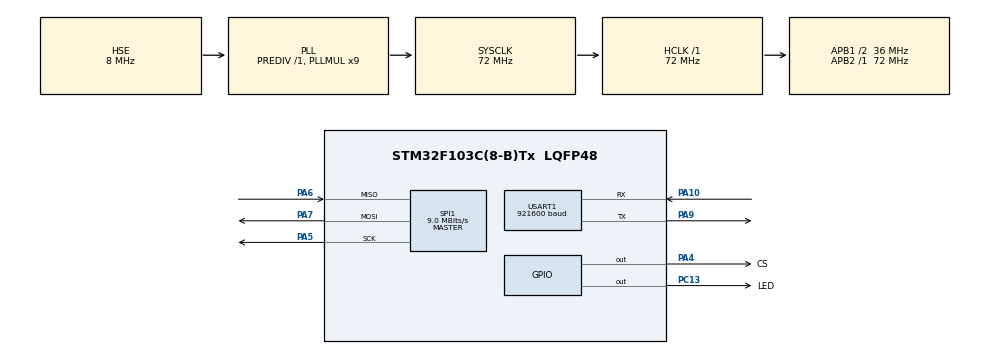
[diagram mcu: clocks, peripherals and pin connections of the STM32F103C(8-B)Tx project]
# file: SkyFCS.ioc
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Mcu.Family=STM32F1
Mcu.Name=STM32F103C(8-B)Tx
Mcu.Package=LQFP48
NVIC.PriorityGroup=NVIC_PRIORITYGROUP_4
NVIC.TIM4_IRQn=true\:0\:0\:false\:false\:true\:true\:true
PA10.Mode=Asynchronous
PA10.Signal=USART1_RX
PA13.Mode=Trace_Asynchronous_SW
PA13.Signal=SYS_JTMS-SWDIO
PA14.Mode=Trace_Asynchronous_SW
PA14.Signal=SYS_JTCK-SWCLK
PA4.GPIO_Label=CS
PA4.Signal=GPIO_Output
PA5.Mode=Full_Duplex_Master
PA5.Signal=SPI1_SCK
PA6.Mode=Full_Duplex_Master
PA6.Signal=SPI1_MISO
PA7.Mode=Full_Duplex_Master
PA7.Signal=SPI1_MOSI
PA9.Mode=Asynchronous
PA9.Signal=USART1_TX
PB3.Mode=Trace_Asynchronous_SW
PB3.Signal=SYS_JTDO-TRACESWO
PC13-TAMPER-RTC.GPIO_Label=LED
PC13-TAMPER-RTC.Signal=GPIO_Output
PC14-OSC32_IN.Mode=LSE-External-Oscillator
PC14-OSC32_IN.Signal=RCC_OSC32_IN
PC15-OSC32_OUT.Mode=LSE-External-Oscillator
PC15-OSC32_OUT.Signal=RCC_OSC32_OUT
PD0-OSC_IN.Mode=HSE-External-Oscillator
PD0-OSC_IN.Signal=RCC_OSC_IN
PD1-OSC_OUT.Mode=HSE-External-Oscillator
PD1-OSC_OUT.Signal=RCC_OSC_OUT
ProjectManager.HeapSize=0x200
ProjectManager.StackSize=0x400
ProjectManager.TargetToolchain=STM32CubeIDE
RCC.AHBFreq_Value=72000000
RCC.APB1CLKDivider=RCC_HCLK_DIV2
RCC.APB1Freq_Value=36000000
RCC.APB1TimFreq_Value=72000000
RCC.APB2Freq_Value=72000000
RCC.APB2TimFreq_Value=72000000
RCC.HCLKFreq_Value=72000000
RCC.PLLMUL=RCC_PLL_MUL9
RCC.PLLSourceVirtual=RCC_PLLSOURCE_HSE
RCC.SYSCLKFreq_VALUE=72000000
RCC.SYSCLKSource=RCC_SYSCLKSOURCE_PLLCLK
RCC.USBFreq_Value=72000000
SPI1.BaudRatePrescaler=SPI_BAUDRATEPRESCALER_8
SPI1.CalculateBaudRate=9.0 MBits/s
SPI1.Direction=SPI_DIRECTION_2LINES
SPI1.Mode=SPI_MODE_MASTER
SPI1.VirtualType=VM_MASTER
TIM4.AutoReloadPreload=TIM_AUTORELOAD_PRELOAD_ENABLE
TIM4.Prescaler=71
USART1.BaudRate=921600
USART1.VirtualMode=VM_ASYNC
VP_TIM4_VS_ClockSourceINT.Mode=Internal
board=custom

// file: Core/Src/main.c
/* USER CODE BEGIN Header */
/**
  ******************************************************************************
  * @file           : main.c
  * @brief          : Main program body
  ******************************************************************************
  * @attention
  *
  * <h2><center>&copy; Copyright (c) 2025 STMicroelectronics.
  * All rights reserved.</center></h2>
  *
  * This software component is licensed by ST under BSD 3-Clause license,
  * the "License"; You may not use this file except in compliance with the
  * License. You may obtain a copy of the License at:
  *                        opensource.org/licenses/BSD-3-Clause
  *
  ******************************************************************************
  */
/* USER CODE END Header */
#include "main.h"
#include "spi.h"
#include "tim.h"
#include "usart.h"
#include "gpio.h"

/* USER CODE BEGIN Includes */
#include "ICM42688P.h"
#include "stdio.h"
/* USER CODE END Includes */

/* USER CODE BEGIN PTD */
volatile uint32_t timer_overflow_count = 0;  // 溢出次数�??32位扩展）

uint64_t Get_Global_Time_us(void) {
    uint32_t overflow, counter;
    do {
        overflow = timer_overflow_count;
        counter = __HAL_TIM_GET_COUNTER(&htim4);
    } while (overflow != timer_overflow_count); // 无锁校验
    return (uint64_t)overflow * 65536 + counter; // 组合�??64位时间戳
}

#ifdef __GNUC__

#define PUTCHAR_PROTOTYPE int __io_putchar(int ch)

PUTCHAR_PROTOTYPE
{
    HAL_UART_Transmit(&huart1, (uint8_t*)&ch, 1, HAL_MAX_DELAY);
    return ch;
}
#endif
/* USER CODE END PTD */

/* USER CODE BEGIN PD */
void LedFlash(void)
{
    // static uint64_t timeStampForLED;
    // uint64_t crrTime = Get_Global_Time_us();
    // if(crrTime > timeStampForLED+1000000)
    // {
        HAL_GPIO_TogglePin(LED_GPIO_Port,LED_Pin);
    //     timeStampForLED = crrTime;
    // }
}
/* USER CODE END PD */

void SystemClock_Config(void);

int main(void)
{

  /* MCU Configuration--------------------------------------------------------*/

  /* Reset of all peripherals, Initializes the Flash interface and the Systick. */
  HAL_Init();

  /* Configure the system clock */
  SystemClock_Config();

  /* Initialize all configured peripherals */
  MX_GPIO_Init();
  MX_SPI1_Init();
  MX_USART1_UART_Init();
  MX_TIM4_Init();
  /* USER CODE BEGIN 2 */
  HAL_TIM_Base_Start_IT(&htim4);
  ICM42688_Init();
  /* USER CODE END 2 */

  /* Infinite loop */
  /* USER CODE BEGIN WHILE */
  while (1)
  {
      LedFlash();

      int16_t accel[3],gyro[3];
      ReadSensorData(accel,gyro);
      float t = ICM42688_ReadTemperature();
      float accel_g[3],gyro_dps[3];
      ConvertRawData(accel,gyro,accel_g,gyro_dps);
      printf("T=%f,AX=%f,AY=%f,AZ=%f,GX=%f,GY=%f,GZ=%f\r\n",t,accel_g[0],accel_g[1],accel_g[2],gyro_dps[0],gyro_dps[1],gyro_dps[2]);

    /* USER CODE END WHILE */

  }
}

void SystemClock_Config(void)
{
  RCC_OscInitTypeDef RCC_OscInitStruct = {0};
  RCC_ClkInitTypeDef RCC_ClkInitStruct = {0};

  /** Initializes the RCC Oscillators according to the specified parameters
  * in the RCC_OscInitTypeDef structure.
  */
  RCC_OscInitStruct.OscillatorType = RCC_OSCILLATORTYPE_HSE;
  RCC_OscInitStruct.HSEState = RCC_HSE_ON;
  RCC_OscInitStruct.HSEPredivValue = RCC_HSE_PREDIV_DIV1;
  RCC_OscInitStruct.HSIState = RCC_HSI_ON;
  RCC_OscInitStruct.PLL.PLLState = RCC_PLL_ON;
  RCC_OscInitStruct.PLL.PLLSource = RCC_PLLSOURCE_HSE;
  RCC_OscInitStruct.PLL.PLLMUL = RCC_PLL_MUL9;
  if (HAL_RCC_OscConfig(&RCC_OscInitStruct) != HAL_OK)
  {
    Error_Handler();
  }
  /** Initializes the CPU, AHB and APB buses clocks
  */
  RCC_ClkInitStruct.ClockType = RCC_CLOCKTYPE_HCLK|RCC_CLOCKTYPE_SYSCLK
                              |RCC_CLOCKTYPE_PCLK1|RCC_CLOCKTYPE_PCLK2;
  RCC_ClkInitStruct.SYSCLKSource = RCC_SYSCLKSOURCE_PLLCLK;
  RCC_ClkInitStruct.AHBCLKDivider = RCC_SYSCLK_DIV1;
  RCC_ClkInitStruct.APB1CLKDivider = RCC_HCLK_DIV2;
  RCC_ClkInitStruct.APB2CLKDivider = RCC_HCLK_DIV1;

  if (HAL_RCC_ClockConfig(&RCC_ClkInitStruct, FLASH_LATENCY_2) != HAL_OK)
  {
    Error_Handler();
  }
}

/* USER CODE BEGIN 4 */
void HAL_TIM_PeriodElapsedCallback(TIM_HandleTypeDef *htim) {
    if (htim->Instance == TIM4) {
        timer_overflow_count++;
    }
}
/* USER CODE END 4 */

void Error_Handler(void)
{
  __disable_irq();
  while (1)
  {
  }
}

/************************ (C) COPYRIGHT STMicroelectronics *****END OF FILE****/
